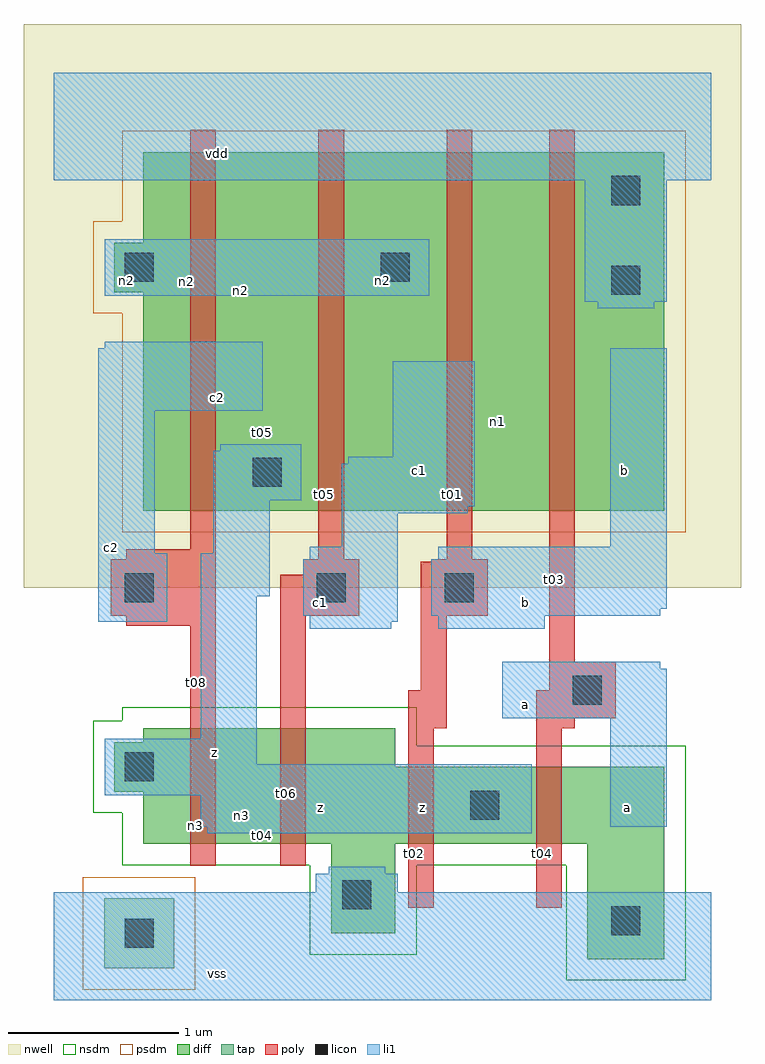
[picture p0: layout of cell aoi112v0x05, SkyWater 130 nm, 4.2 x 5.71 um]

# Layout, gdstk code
import gdstk
lib = gdstk.Library(unit=1e-6, precision=5e-09)
def R(c, l, rs):  # rectangles x0, y0, x1, y1
    for r in rs: c.add(gdstk.rectangle(r[:2], r[2:], *l))
nwell = (64, 20)
diff = (65, 20)
tap = (65, 44)
poly = (66, 20)
licon = (66, 44)
li1 = (67, 20)
nsdm = (93, 44)
psdm = (94, 20)

aoi112v0x05 = lib.new_cell('aoi112v0x05')
R(aoi112v0x05, nwell, [(-0.3,2.4,3.9,5.7)])
R(aoi112v0x05, diff, [(3,0.225,3.45,1.35), (1.5,0.375,1.875,1.575), (0.4,0.9,1.875,1.495), (0.4,0.9,1.875,1.575), (0.4,0.9,3.45,1.35), (0.23,1.205,1.875,1.495), (0.4,2.85,3.45,4.95), (0.23,4.13,3.45,4.42)])
R(aoi112v0x05, tap, [(0.17,0.17,0.58,0.58)])
R(aoi112v0x05, poly, [(1.95,0.525,2.1,1.8), (2.7,0.525,2.85,1.8), (0.675,0.77,0.825,5.08), (1.2,0.77,1.35,2.475), (1.95,1.575,2.175,1.8), (2.025,1.575,2.175,2.55), (2.7,1.575,2.925,1.8), (2.775,1.575,2.925,5.08), (2.7,1.635,3.165,1.8), (2.775,1.635,3.165,1.965), (0.3,2.175,0.825,2.625), (0.21,2.235,0.825,2.565), (1.2,2.235,1.665,2.475), (1.335,2.235,1.665,2.565), (1.425,2.235,1.575,5.08), (2.025,2.235,2.415,2.55), (2.085,2.235,2.415,2.565), (2.175,2.235,2.325,5.08)])
R(aoi112v0x05, licon, [(0.29,0.29,0.46,0.46), (3.14,0.365,3.31,0.535), (1.565,0.515,1.735,0.685), (2.315,1.04,2.485,1.21), (0.29,1.265,0.46,1.435), (2.915,1.715,3.085,1.885), (0.29,2.315,0.46,2.485), (1.415,2.315,1.585,2.485), (2.165,2.315,2.335,2.485), (1.04,2.99,1.21,3.16), (3.14,4.115,3.31,4.285), (0.29,4.19,0.46,4.36), (1.79,4.19,1.96,4.36), (3.14,4.64,3.31,4.81)])
R(aoi112v0x05, li1, [(-0.125,-0.015,3.725,0.615), (-0.125,-0.015,3.725,0.615), (1.41,-0.015,1.89,0.725), (1.485,-0.015,1.815,0.765), (0.775,0.96,1.065,2.6), (0.775,0.96,2.675,1.365), (0.81,0.96,1.065,3.2), (0.85,0.96,1.065,3.24), (0.735,1,1.065,2.6), (0.735,1,2.675,1.365), (3.135,1,3.425,1.965), (3.135,1,3.465,1.925), (1.375,1.035,1.625,1.365), (1.975,1.035,2.225,1.365), (3.175,1.035,3.425,1.365), (0.735,1.075,1.065,2.525), (0.175,1.185,1.065,1.515), (0.175,1.185,2.675,1.365), (2.5,1.635,3.465,1.925), (2.5,1.635,3.425,1.965), (2.575,1.635,2.825,1.965), (1.375,2.16,1.85,2.64), (1.56,2.16,1.85,3.125), (1.6,2.16,1.85,3.165), (2.125,2.16,2.75,2.64), (0.135,2.2,0.54,2.6), (0.135,2.2,0.465,3.8), (0.175,2.2,0.465,3.84), (1.375,2.2,1.89,2.64), (1.56,2.2,1.89,3.125), (1.6,2.2,1.89,3.165), (1.335,2.235,1.89,2.565), (1.375,2.235,1.625,2.565), (2.085,2.235,3.425,2.565), (2.125,2.235,3.425,2.64), (2.575,2.235,2.825,2.565), (3.135,2.235,3.425,3.8), (0.135,2.275,0.465,3.725), (2.085,2.275,3.465,2.565), (2.125,2.275,3.465,2.64), (3.135,2.275,3.465,3.8), (0.735,2.35,1.14,2.6), (0.81,2.35,1.14,3.2), (0.85,2.35,1.14,3.24), (1.56,2.835,2.3,3.125), (1.6,2.835,2.3,3.165), (1.86,2.835,2.3,3.725), (1.56,2.875,2.34,3.125), (1.6,2.875,2.34,3.165), (1.86,2.875,2.34,3.725), (1.935,2.875,2.265,3.725), (3.135,2.875,3.465,3.725), (0.81,2.91,1.325,3.2), (0.85,2.91,1.325,3.24), (0.135,3.435,1.1,3.8), (0.175,3.435,1.1,3.84), (0.775,3.435,1.025,3.765), (3.06,4.035,3.39,5.415), (2.985,4.075,3.465,5.415), (0.175,4.11,2.075,4.44), (-0.125,4.785,3.725,5.415), (-0.125,4.785,3.725,5.415)])
R(aoi112v0x05, nsdm, [(2.875,0.1,3.575,1.475), (3,0.225,3.45,1.35), (3,0.225,3.45,1.35), (1.375,0.25,2,1.7), (3.08,0.305,3.37,0.595), (1.5,0.375,1.8,1.575), (1.5,0.375,1.8,1.575), (1.575,0.375,1.875,1.575), (1.575,0.375,1.875,1.575), (1.505,0.455,1.795,0.745), (0.275,0.775,2,1.7), (0.275,0.775,3.575,1.475), (0.9,0.9,1.2,1.575), (0.9,0.9,1.2,1.575), (2.25,0.9,2.55,1.35), (2.25,0.9,2.55,1.35), (2.255,0.98,2.545,1.27), (0.105,1.08,2,1.62), (0.105,1.08,3.575,1.475), (0.23,1.205,0.52,1.495)])
R(aoi112v0x05, psdm, [(0.045,0.045,0.705,0.705), (0.275,2.725,3.575,5.075), (0.975,2.85,1.275,4.95), (0.975,2.85,1.275,4.95), (1.725,2.85,2.025,4.95), (1.725,2.85,2.025,4.95), (2.4,2.85,2.7,4.95), (2.4,2.85,2.7,4.95), (3,2.85,3.45,4.95), (3,2.85,3.45,4.95), (0.98,2.93,1.27,3.22), (0.105,4.005,3.575,4.545), (3.08,4.055,3.37,4.345), (0.23,4.13,0.52,4.42), (1.73,4.13,2.02,4.42), (3.08,4.58,3.37,4.87)])
aoi112v0x05.add(gdstk.Label('n3', (0.705,1.005), layer=93, texttype=44))
aoi112v0x05.add(gdstk.Label('t04', (1.1,0.95), layer=93, texttype=44))
aoi112v0x05.add(gdstk.Label('n2', (0.97,4.14), layer=94, texttype=20))
aoi112v0x05.add(gdstk.Label('t05', (1.1,3.31), layer=94, texttype=20))
aoi112v0x05.add(gdstk.Label('n3', (0.765,1.065), layer=65, texttype=20))
aoi112v0x05.add(gdstk.Label('t04', (1.16,1.01), layer=65, texttype=20))
aoi112v0x05.add(gdstk.Label('t05', (1.16,3.375), layer=65, texttype=20))
aoi112v0x05.add(gdstk.Label('n2', (1.035,4.2), layer=65, texttype=20))
aoi112v0x05.add(gdstk.Label('n3', (0.975,1.065), layer=93, texttype=44))
aoi112v0x05.add(gdstk.Label('n2', (1.8,4.2), layer=94, texttype=20))
aoi112v0x05.add(gdstk.Label('n2', (0.3,4.2), layer=94, texttype=20))
aoi112v0x05.add(gdstk.Label('n1', (2.475,3.375), layer=94, texttype=20))
aoi112v0x05.add(gdstk.Label('t08', (0.71,1.845), layer=66, texttype=20))
aoi112v0x05.add(gdstk.Label('t06', (1.235,1.195), layer=66, texttype=20))
aoi112v0x05.add(gdstk.Label('t05', (1.46,2.945), layer=66, texttype=20))
aoi112v0x05.add(gdstk.Label('t02', (1.985,0.84), layer=66, texttype=20))
aoi112v0x05.add(gdstk.Label('t01', (2.21,2.945), layer=66, texttype=20))
aoi112v0x05.add(gdstk.Label('t04', (2.735,0.84), layer=66, texttype=20))
aoi112v0x05.add(gdstk.Label('t03', (2.81,2.45), layer=66, texttype=20))
aoi112v0x05.add(gdstk.Label('n2', (1.83,4.23), layer=66, texttype=44))
aoi112v0x05.add(gdstk.Label('n2', (0.33,4.23), layer=66, texttype=44))
aoi112v0x05.add(gdstk.Label('c2', (0.215,2.635), layer=67, texttype=20))
aoi112v0x05.add(gdstk.Label('z', (0.815,1.435), layer=67, texttype=20))
aoi112v0x05.add(gdstk.Label('c2', (0.835,3.515), layer=67, texttype=20))
aoi112v0x05.add(gdstk.Label('z', (1.435,1.115), layer=67, texttype=20))
aoi112v0x05.add(gdstk.Label('c1', (1.435,2.315), layer=67, texttype=20))
aoi112v0x05.add(gdstk.Label('n2', (0.65,4.19), layer=67, texttype=20))
aoi112v0x05.add(gdstk.Label('z', (2.035,1.115), layer=67, texttype=20))
aoi112v0x05.add(gdstk.Label('a', (2.635,1.715), layer=67, texttype=20))
aoi112v0x05.add(gdstk.Label('b', (2.635,2.315), layer=67, texttype=20))
aoi112v0x05.add(gdstk.Label('c1', (2.015,3.085), layer=67, texttype=20))
aoi112v0x05.add(gdstk.Label('vss', (0.835,0.14), layer=67, texttype=20))
aoi112v0x05.add(gdstk.Label('a', (3.235,1.115), layer=67, texttype=20))
aoi112v0x05.add(gdstk.Label('b', (3.215,3.085), layer=67, texttype=20))
aoi112v0x05.add(gdstk.Label('vdd', (0.835,4.94), layer=67, texttype=20))

lib.write_gds('aoi112v0x05.gds')
